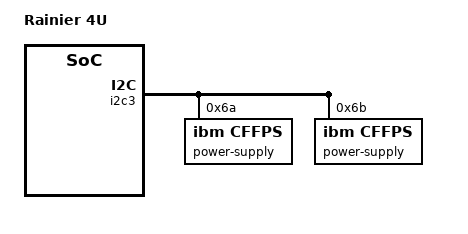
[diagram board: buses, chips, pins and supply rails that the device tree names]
/dts-v1/;
#include "aspeed-bmc-ibm-rainier.dts"
/ {
	model = "Rainier 4U";
};
&i2c3 {
	power-supply@6a {
		compatible = "ibm,cffps";
		reg = <0x6a>;
	};
	power-supply@6b {
		compatible = "ibm,cffps";
		reg = <0x6b>;
	};
};
